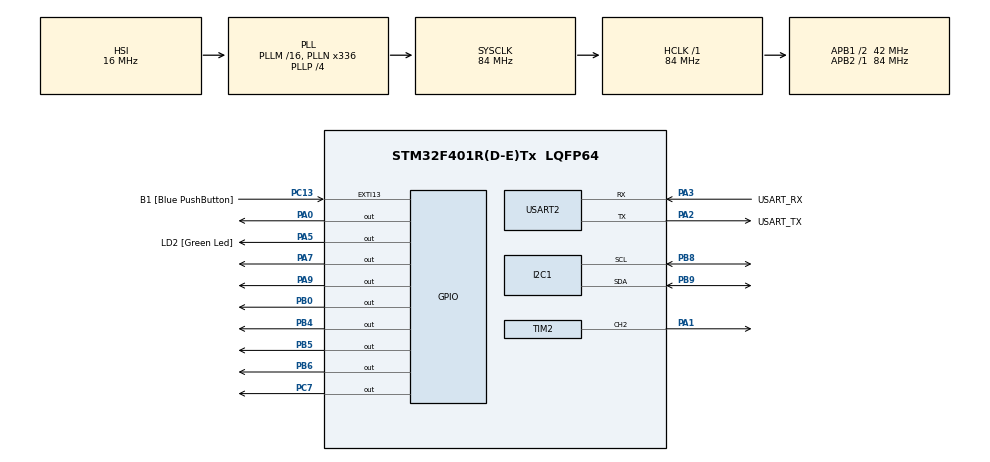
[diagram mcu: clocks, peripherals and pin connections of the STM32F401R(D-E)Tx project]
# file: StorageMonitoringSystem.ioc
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Mcu.Family=STM32F4
Mcu.Name=STM32F401R(D-E)Tx
Mcu.Package=LQFP64
NVIC.PriorityGroup=NVIC_PRIORITYGROUP_0
NVIC.USART2_IRQn=true\:0\:0\:false\:false\:true\:true\:true\:true
PA0-WKUP.Signal=GPIO_Output
PA1.Signal=S_TIM2_CH2
PA13.GPIO_Label=TMS
PA13.Mode=Serial_Wire
PA13.Signal=SYS_JTMS-SWDIO
PA14.GPIO_Label=TCK
PA14.Mode=Serial_Wire
PA14.Signal=SYS_JTCK-SWCLK
PA2.GPIO_Label=USART_TX
PA2.GPIO_Mode=GPIO_MODE_AF_PP
PA2.GPIO_PuPd=GPIO_NOPULL
PA2.GPIO_Speed=GPIO_SPEED_FREQ_LOW
PA2.Mode=Asynchronous
PA2.Signal=USART2_TX
PA3.GPIO_Label=USART_RX
PA3.GPIO_Mode=GPIO_MODE_AF_PP
PA3.GPIO_PuPd=GPIO_NOPULL
PA3.GPIO_Speed=GPIO_SPEED_FREQ_LOW
PA3.Mode=Asynchronous
PA3.Signal=USART2_RX
PA5.GPIO_Label=LD2 [Green Led]
PA5.GPIO_Mode=GPIO_MODE_OUTPUT_PP
PA5.GPIO_PuPd=GPIO_NOPULL
PA5.GPIO_Speed=GPIO_SPEED_FREQ_LOW
PA5.Signal=GPIO_Output
PA7.Signal=GPIO_Output
PA9.Signal=GPIO_Output
PB0.Signal=GPIO_Output
PB3.GPIO_Label=SWO
PB3.Signal=SYS_JTDO-SWO
PB4.Signal=GPIO_Output
PB5.Signal=GPIO_Output
PB6.Signal=GPIO_Output
PB8.Mode=I2C
PB8.Signal=I2C1_SCL
PB9.Mode=I2C
PB9.Signal=I2C1_SDA
PC13-ANTI_TAMP.GPIO_Label=B1 [Blue PushButton]
PC13-ANTI_TAMP.GPIO_ModeDefaultEXTI=GPIO_MODE_IT_FALLING
PC13-ANTI_TAMP.GPIO_PuPd=GPIO_NOPULL
PC13-ANTI_TAMP.Signal=GPXTI13
PC14-OSC32_IN.Mode=LSE-External-Oscillator
PC14-OSC32_IN.Signal=RCC_OSC32_IN
PC15-OSC32_OUT.Mode=LSE-External-Oscillator
PC15-OSC32_OUT.Signal=RCC_OSC32_OUT
PC7.Signal=GPIO_Output
PH0\ -\ OSC_IN.Mode=HSE-External-Clock-Source
PH0\ -\ OSC_IN.Signal=RCC_OSC_IN
PH1\ -\ OSC_OUT.Mode=HSE-External-Clock-Source
PH1\ -\ OSC_OUT.Signal=RCC_OSC_OUT
ProjectManager.HeapSize=0x200
ProjectManager.StackSize=0x400
ProjectManager.TargetToolchain=STM32CubeIDE
RCC.48MHZClocksFreq_Value=48000000
RCC.AHBFreq_Value=84000000
RCC.APB1CLKDivider=RCC_HCLK_DIV2
RCC.APB1Freq_Value=42000000
RCC.APB1TimFreq_Value=84000000
RCC.APB2Freq_Value=84000000
RCC.APB2TimFreq_Value=84000000
RCC.CortexFreq_Value=84000000
RCC.HCLKFreq_Value=84000000
RCC.HSE_VALUE=8000000
RCC.HSI_VALUE=16000000
RCC.PLLN=336
RCC.PLLP=RCC_PLLP_DIV4
RCC.PLLQ=7
RCC.SYSCLKFreq_VALUE=84000000
RCC.SYSCLKSource=RCC_SYSCLKSOURCE_PLLCLK
RCC.VCOOutputFreq_Value=336000000
SH.S_TIM2_CH2.0=TIM2_CH2,PWM Generation2 CH2
TIM2.Channel-PWM\ Generation2\ CH2=TIM_CHANNEL_2
TIM2.Period=20
TIM2.Prescaler=127
USART2.VirtualMode=VM_ASYNC
VP_TIM2_VS_ClockSourceINT.Mode=Internal
board=NUCLEO-F401RE

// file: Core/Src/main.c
/* USER CODE BEGIN Header */
/**
  ******************************************************************************
  * @file           : main.c
  * @brief          : Main program body
  ******************************************************************************
  * @attention
  *
  * Copyright (c) 2024 STMicroelectronics.
  * All rights reserved.
  *
  * This software is licensed under terms that can be found in the LICENSE file
  * in the root directory of this software component.
  * If no LICENSE file comes with this software, it is provided AS-IS.
  *
  ******************************************************************************
  */
/* USER CODE END Header */
#include "main.h"

/* USER CODE BEGIN Includes */
#include <stdbool.h>
#include <string.h>
#include <stdlib.h>
#include "liquidcrystal_i2c.h"
/* USER CODE END Includes */

I2C_HandleTypeDef hi2c1;

TIM_HandleTypeDef htim2;

UART_HandleTypeDef huart2;

/* USER CODE BEGIN PV */
#define BUFFER_SIZE 10
uint8_t rx_data[BUFFER_SIZE];
uint8_t rx_index = 0;

#define THRESHOLD 4
uint8_t received_char;
uint8_t led_buzzer_state = 0;
uint8_t temperature;

typedef enum {
    BUZZER_OFF,
    BUZZER_ACTIVE,
    BUZZER_DONE
} BuzzerState;

BuzzerState buzzerState = BUZZER_OFF;
int pwmStep = 10;

/* USER CODE END PV */

void SystemClock_Config(void);
static void MX_GPIO_Init(void);
static void MX_USART2_UART_Init(void);
static void MX_TIM2_Init(void);
static void MX_I2C1_Init(void);
/* USER CODE BEGIN PFP */
void ActivateLED(void);
void ActivateBuzzer(void);
void CalculateValues(void);
/* USER CODE END PFP */

int main(void)
{

  /* MCU Configuration--------------------------------------------------------*/

  /* Reset of all peripherals, Initializes the Flash interface and the Systick. */
  HAL_Init();

  /* Configure the system clock */
  SystemClock_Config();

  /* Initialize all configured peripherals */
  MX_GPIO_Init();
  MX_USART2_UART_Init();
  MX_TIM2_Init();
  MX_I2C1_Init();
  /* USER CODE BEGIN 2 */

  HD44780_Init(2);

  HAL_UART_Receive_IT(&huart2, &temperature, 1);

  /* USER CODE END 2 */

  /* Infinite loop */
  /* USER CODE BEGIN WHILE */
  while (1)
  {
	  UpdateBuzzer();
	  HAL_Delay(10);
    /* USER CODE END WHILE */

  }
}

void SystemClock_Config(void)
{
  RCC_OscInitTypeDef RCC_OscInitStruct = {0};
  RCC_ClkInitTypeDef RCC_ClkInitStruct = {0};

  /** Configure the main internal regulator output voltage
  */
  __HAL_RCC_PWR_CLK_ENABLE();
  __HAL_PWR_VOLTAGESCALING_CONFIG(PWR_REGULATOR_VOLTAGE_SCALE2);

  /** Initializes the RCC Oscillators according to the specified parameters
  * in the RCC_OscInitTypeDef structure.
  */
  RCC_OscInitStruct.OscillatorType = RCC_OSCILLATORTYPE_HSI;
  RCC_OscInitStruct.HSIState = RCC_HSI_ON;
  RCC_OscInitStruct.HSICalibrationValue = RCC_HSICALIBRATION_DEFAULT;
  RCC_OscInitStruct.PLL.PLLState = RCC_PLL_ON;
  RCC_OscInitStruct.PLL.PLLSource = RCC_PLLSOURCE_HSI;
  RCC_OscInitStruct.PLL.PLLM = 16;
  RCC_OscInitStruct.PLL.PLLN = 336;
  RCC_OscInitStruct.PLL.PLLP = RCC_PLLP_DIV4;
  RCC_OscInitStruct.PLL.PLLQ = 7;
  if (HAL_RCC_OscConfig(&RCC_OscInitStruct) != HAL_OK)
  {
    Error_Handler();
  }

  /** Initializes the CPU, AHB and APB buses clocks
  */
  RCC_ClkInitStruct.ClockType = RCC_CLOCKTYPE_HCLK|RCC_CLOCKTYPE_SYSCLK
                              |RCC_CLOCKTYPE_PCLK1|RCC_CLOCKTYPE_PCLK2;
  RCC_ClkInitStruct.SYSCLKSource = RCC_SYSCLKSOURCE_PLLCLK;
  RCC_ClkInitStruct.AHBCLKDivider = RCC_SYSCLK_DIV1;
  RCC_ClkInitStruct.APB1CLKDivider = RCC_HCLK_DIV2;
  RCC_ClkInitStruct.APB2CLKDivider = RCC_HCLK_DIV1;

  if (HAL_RCC_ClockConfig(&RCC_ClkInitStruct, FLASH_LATENCY_2) != HAL_OK)
  {
    Error_Handler();
  }
}

static void MX_I2C1_Init(void)
{

  hi2c1.Instance = I2C1;
  hi2c1.Init.ClockSpeed = 100000;
  hi2c1.Init.DutyCycle = I2C_DUTYCYCLE_2;
  hi2c1.Init.OwnAddress1 = 0;
  hi2c1.Init.AddressingMode = I2C_ADDRESSINGMODE_7BIT;
  hi2c1.Init.DualAddressMode = I2C_DUALADDRESS_DISABLE;
  hi2c1.Init.OwnAddress2 = 0;
  hi2c1.Init.GeneralCallMode = I2C_GENERALCALL_DISABLE;
  hi2c1.Init.NoStretchMode = I2C_NOSTRETCH_DISABLE;
  if (HAL_I2C_Init(&hi2c1) != HAL_OK)
  {
    Error_Handler();
  }

}

static void MX_TIM2_Init(void)
{

  TIM_ClockConfigTypeDef sClockSourceConfig = {0};
  TIM_MasterConfigTypeDef sMasterConfig = {0};
  TIM_OC_InitTypeDef sConfigOC = {0};

  htim2.Instance = TIM2;
  htim2.Init.Prescaler = 127;
  htim2.Init.CounterMode = TIM_COUNTERMODE_UP;
  htim2.Init.Period = 20;
  htim2.Init.ClockDivision = TIM_CLOCKDIVISION_DIV1;
  htim2.Init.AutoReloadPreload = TIM_AUTORELOAD_PRELOAD_DISABLE;
  if (HAL_TIM_Base_Init(&htim2) != HAL_OK)
  {
    Error_Handler();
  }
  sClockSourceConfig.ClockSource = TIM_CLOCKSOURCE_INTERNAL;
  if (HAL_TIM_ConfigClockSource(&htim2, &sClockSourceConfig) != HAL_OK)
  {
    Error_Handler();
  }
  if (HAL_TIM_PWM_Init(&htim2) != HAL_OK)
  {
    Error_Handler();
  }
  sMasterConfig.MasterOutputTrigger = TIM_TRGO_RESET;
  sMasterConfig.MasterSlaveMode = TIM_MASTERSLAVEMODE_DISABLE;
  if (HAL_TIMEx_MasterConfigSynchronization(&htim2, &sMasterConfig) != HAL_OK)
  {
    Error_Handler();
  }
  sConfigOC.OCMode = TIM_OCMODE_PWM1;
  sConfigOC.Pulse = 0;
  sConfigOC.OCPolarity = TIM_OCPOLARITY_HIGH;
  sConfigOC.OCFastMode = TIM_OCFAST_DISABLE;
  if (HAL_TIM_PWM_ConfigChannel(&htim2, &sConfigOC, TIM_CHANNEL_2) != HAL_OK)
  {
    Error_Handler();
  }
  HAL_TIM_MspPostInit(&htim2);

}

static void MX_USART2_UART_Init(void)
{

  huart2.Instance = USART2;
  huart2.Init.BaudRate = 115200;
  huart2.Init.WordLength = UART_WORDLENGTH_8B;
  huart2.Init.StopBits = UART_STOPBITS_1;
  huart2.Init.Parity = UART_PARITY_NONE;
  huart2.Init.Mode = UART_MODE_TX_RX;
  huart2.Init.HwFlowCtl = UART_HWCONTROL_NONE;
  huart2.Init.OverSampling = UART_OVERSAMPLING_16;
  if (HAL_UART_Init(&huart2) != HAL_OK)
  {
    Error_Handler();
  }

}

static void MX_GPIO_Init(void)
{
  GPIO_InitTypeDef GPIO_InitStruct = {0};

  /* GPIO Ports Clock Enable */
  __HAL_RCC_GPIOC_CLK_ENABLE();
  __HAL_RCC_GPIOH_CLK_ENABLE();
  __HAL_RCC_GPIOA_CLK_ENABLE();
  __HAL_RCC_GPIOB_CLK_ENABLE();

  /*Configure GPIO pin Output Level */
  HAL_GPIO_WritePin(GPIOA, GPIO_PIN_0|LD2_Pin|GPIO_PIN_7|GPIO_PIN_9, GPIO_PIN_RESET);

  /*Configure GPIO pin Output Level */
  HAL_GPIO_WritePin(GPIOB, GPIO_PIN_0|GPIO_PIN_4|GPIO_PIN_5|GPIO_PIN_6, GPIO_PIN_RESET);

  /*Configure GPIO pin Output Level */
  HAL_GPIO_WritePin(GPIOC, GPIO_PIN_7, GPIO_PIN_RESET);

  /*Configure GPIO pin : B1_Pin */
  GPIO_InitStruct.Pin = B1_Pin;
  GPIO_InitStruct.Mode = GPIO_MODE_IT_FALLING;
  GPIO_InitStruct.Pull = GPIO_NOPULL;
  HAL_GPIO_Init(B1_GPIO_Port, &GPIO_InitStruct);

  /*Configure GPIO pins : PA0 LD2_Pin PA7 PA9 */
  GPIO_InitStruct.Pin = GPIO_PIN_0|LD2_Pin|GPIO_PIN_7|GPIO_PIN_9;
  GPIO_InitStruct.Mode = GPIO_MODE_OUTPUT_PP;
  GPIO_InitStruct.Pull = GPIO_NOPULL;
  GPIO_InitStruct.Speed = GPIO_SPEED_FREQ_LOW;
  HAL_GPIO_Init(GPIOA, &GPIO_InitStruct);

  /*Configure GPIO pins : PB0 PB4 PB5 PB6 */
  GPIO_InitStruct.Pin = GPIO_PIN_0|GPIO_PIN_4|GPIO_PIN_5|GPIO_PIN_6;
  GPIO_InitStruct.Mode = GPIO_MODE_OUTPUT_PP;
  GPIO_InitStruct.Pull = GPIO_NOPULL;
  GPIO_InitStruct.Speed = GPIO_SPEED_FREQ_LOW;
  HAL_GPIO_Init(GPIOB, &GPIO_InitStruct);

  /*Configure GPIO pin : PC7 */
  GPIO_InitStruct.Pin = GPIO_PIN_7;
  GPIO_InitStruct.Mode = GPIO_MODE_OUTPUT_PP;
  GPIO_InitStruct.Pull = GPIO_NOPULL;
  GPIO_InitStruct.Speed = GPIO_SPEED_FREQ_LOW;
  HAL_GPIO_Init(GPIOC, &GPIO_InitStruct);

}

/* USER CODE BEGIN 4 */
void ActivateLED(void){
	HAL_GPIO_TogglePin(GPIOA, GPIO_PIN_0);
}

void ActivateBuzzer(void) {
    if (buzzerState == BUZZER_OFF) {
        HAL_TIM_PWM_Start(&htim2, TIM_CHANNEL_2);
        pwmStep = 10;
        buzzerState = BUZZER_ACTIVE;
    }
}

void UpdateBuzzer(void) {
    if (buzzerState == BUZZER_ACTIVE) {
        __HAL_TIM_SET_AUTORELOAD(&htim2, pwmStep * 2);
        __HAL_TIM_SET_COMPARE(&htim2, TIM_CHANNEL_2, pwmStep);
        __HAL_TIM_SET_COUNTER(&htim2, 0);

        pwmStep++;
        if (pwmStep >= 60) {
            HAL_TIM_PWM_Stop(&htim2, TIM_CHANNEL_2);
            HAL_GPIO_WritePin(GPIOB, GPIO_PIN_0, GPIO_PIN_RESET);
            buzzerState = BUZZER_DONE;
        }
    }
}

char snum[5];
void HAL_UART_RxCpltCallback(UART_HandleTypeDef *huart)
{
  /* Prevent unused argument(s) compilation warning */
  UNUSED(huart);
  /* NOTE: This function should not be modified, when the callback is needed,
           the HAL_UART_RxCpltCallback could be implemented in the user file
   */

  if (huart->Instance == USART2){
      if (received_char == '\r' || received_char == '\n'){
          rx_data[rx_index] = '\0';
          int received_number = atoi((char*)rx_data);
          int num = received_number;
          num = itoa(num, snum, 10);
          HD44780_Clear();
          HD44780_SetCursor(0,0);
          HD44780_PrintStr(snum);
          char debug_msg[50];
          sprintf(debug_msg, "You entered: %d\r\n", received_number);
          HAL_UART_Transmit(&huart2, (uint8_t*)debug_msg, strlen(debug_msg), 100);
          if (received_number > THRESHOLD){
              if (led_buzzer_state == 0){
                  ActivateLED();
                  ActivateBuzzer();
                  led_buzzer_state = 1;
              }
          } else{
              if (led_buzzer_state == 1){
                  ActivateLED();
                  buzzerState = BUZZER_OFF;
                  HAL_TIM_PWM_Stop(&htim2, TIM_CHANNEL_2);
                  HAL_GPIO_WritePin(GPIOB, GPIO_PIN_0, GPIO_PIN_RESET);
                  led_buzzer_state = 0;
              }
          }
          memset(rx_data, 0, BUFFER_SIZE);
          rx_index = 0;
      } else{
          if (rx_index < BUFFER_SIZE - 1){
              rx_data[rx_index++] = received_char;
          }
      }
      HAL_UART_Receive_IT(&huart2, &received_char, 1);
  }
}
/* USER CODE END 4 */

void Error_Handler(void)
{
  __disable_irq();
  while (1)
  {
  }
}
